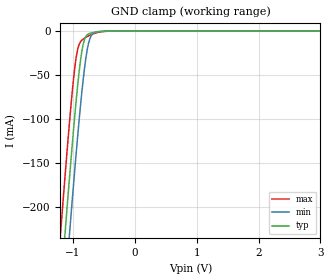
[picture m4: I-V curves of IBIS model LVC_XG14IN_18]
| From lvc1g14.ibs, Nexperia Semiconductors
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|   Model LVC_XG14IN_18
[Model]   LVC_XG14IN_18
Model_type   Input
Vinl =   0.63V
Vinh =   1.17V
C_comp   3.6930pF   2.9619pF   4.4878pF
|Ambient temperature:   25   85   -40
[Temperature Range]   25   85   -40
[Voltage Range]   1.80V   1.65V   1.95V
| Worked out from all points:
|   GND clamp passes 1 mA (typ) near -0.62 V on its own axis
|Process Range   nominal   slow   fast
[GND_clamp]
| voltage   I(typ)   I(min)   I(max)
-5.5V     -4.528A    -4.585A    -4.471A
-1.208V   -305.5mA   -370.9mA   -239.5mA
-1.186V   -285.2mA   -350.6mA   -219.4mA
-1.12V    -225.4mA   -290.5mA   -160.3mA
-1.054V   -167.3mA   -231.6mA   -104mA
-988mV    -112mA     -174.4mA   -54.21mA
-944mV    -77.83mA   -137.8mA   -29.07mA
-856mV    -23.75mA   -70.75mA   -10.51mA
-768mV    -4.272mA   -21.32mA   -6.327mA
-702mV    -2.021mA   -5.071mA   -4.042mA
-400mV    -70.93uA   -77.02uA   -53.98uA
5.5V      0A         0A         0A
